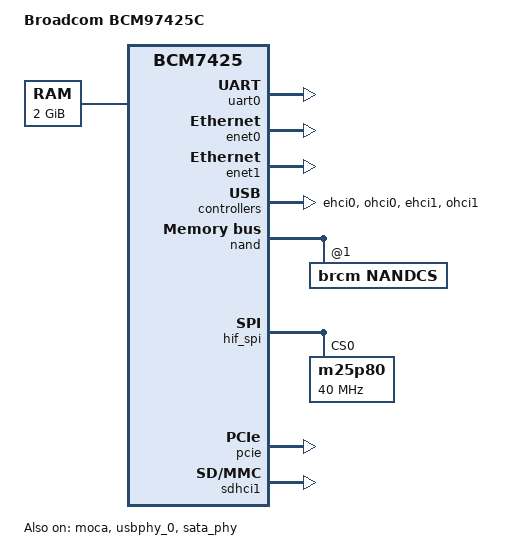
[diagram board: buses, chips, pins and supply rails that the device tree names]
/dts-v1/;

/include/ "bcm7425.dtsi"

/ {
	compatible = "brcm,bcm97425c", "brcm,bcm7425";
	model = "Broadcom BCM97425C";

	memory@0 {
		device_type = "memory";
		reg = <0x00000000 0x10000000>,
		      <0x20000000 0x30000000>,
		      <0x90000000 0x40000000>;
	};

	chosen {
		bootargs = "console=ttyS0,115200";
		stdout-path = &uart0;
	};
};

&uart0 {
	status = "okay";
};

&enet0 {
	status = "okay";
};

&enet1 {
	status = "okay";
};

&moca {
	status = "okay";
};

&usbphy_0 {
	status = "okay";
};

&ehci0 {
	status = "okay";
};

&ohci0 {
	status = "okay";
};

&ehci1 {
	status = "okay";
};

&ohci1 {
	status = "okay";
};

&sata_phy {
	status = "okay";
};

&nand {
	status = "okay";

	nandcs@1 {
		#size-cells = <0x2>;
		#address-cells = <0x2>;
		compatible = "brcm,nandcs";
		reg = <0x1>;
		nand-on-flash-bbt;

		nand-ecc-strength = <24>;
		nand-ecc-step-size = <1024>;
		brcm,nand-oob-sector-size = <27>;

		rootfs@0 {
			reg = <0x0 0x0 0x0 0x0>;
		};

		kernel@1 {
		        reg = <0x0 0x0 0x0 0x0>;
		};

		flash@0 {
			reg = <0x0 0x0 0x1 0x0>;
		};
	};
};

&hif_spi {
	status = "okay";

	m25p80@0 {
		#size-cells = <2>;
		#address-cells = <2>;
		compatible = "m25p80";
		reg = <0>;
		spi-max-frequency = <40000000>;
		spi-cpol;
		spi-cpha;
		use-bspi;
		m25p,fast-read;

		rootfs@0 {
			reg = <0x0 0x0 0x0 0x0>;
		};

		kernel@1 {
			reg = <0x0 0x0 0x0 0x0>;
		};

		flash@0 {
			reg = <0x0 0x0 0x1 0x0>;
		};
	};
};

&pcie {
	status = "okay";
};

&sdhci1 {
	status = "okay";

	pinctrl-names = "default";
	pinctrl-0 = <&sdio1_pins>;
};

&brcm_pmx_core {
	status = "okay";
	pinctrl-names = "default";
	pinctrl-0 = <&moca_bsc_m2_pins>;

	moca_bsc_m2_pins: pinmux_moca_bsc_m2_pins {
		pinctrl-single,bits = <
			0x48 0x10000000 0xf0000000 /* sgpio_00 <- BSC_M2_SCL */
			0x4c 0x00000001 0x0000000f /* sgpio_01 <- BSC_M2_SDA */
		>;
	};
};

&brcm_pmx_sdio1 {
	status = "okay";

	sdio1_pins: pinmux_all_pins {
		pinctrl-single,bits = <
			0x1c 0x80000008 0xffffffff
			0x30 0x80010008 0xffffffff
		>;
	};
};
